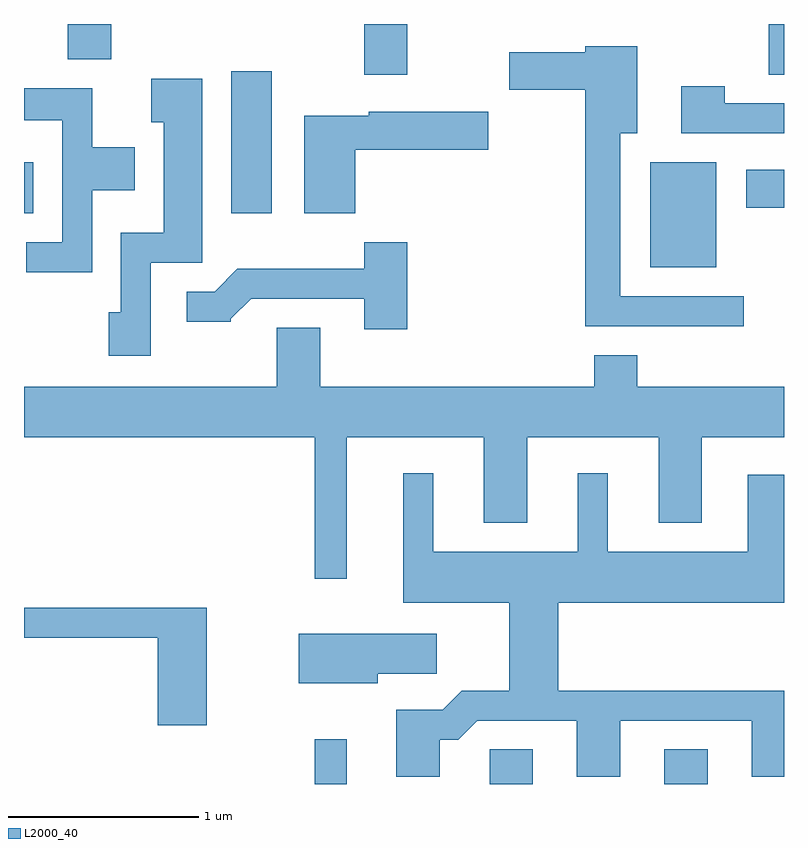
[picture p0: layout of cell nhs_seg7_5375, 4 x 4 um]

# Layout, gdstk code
import gdstk
lib = gdstk.Library(unit=1e-6, precision=1e-09)
def R(c, l, rs):  # rectangles x0, y0, x1, y1
    for r in rs: c.add(gdstk.rectangle(r[:2], r[2:], *l))
def P(c, l, *ps):  # polygons
    for p in ps: c.add(gdstk.Polygon(p, *l))
L2000_40 = (2000, 40)

nhs_seg7_5375 = lib.new_cell('nhs_seg7_5375')
R(nhs_seg7_5375, L2000_40, [(351.141,1730.252,351.309,1730.488), (352.061,1730.252,352.289,1730.434), (352.981,1730.252,353.209,1730.434), (352.906,1732.971,353.254,1733.524), (349.611,1733.256,349.659,1733.524), (350.701,1733.256,350.914,1734.004), (353.411,1733.286,353.611,1733.484), (351.401,1733.986,351.629,1734.252), (353.531,1733.986,353.611,1734.252), (349.841,1734.066,350.069,1734.252)])
P(nhs_seg7_5375, L2000_40, [(353.398,1732.819),(352.749,1732.819),(352.749,1733.676),(352.839,1733.676),(352.839,1734.134),(352.566,1734.134),(352.566,1734.104),(352.166,1734.104),(352.166,1733.906),(352.566,1733.906),(352.566,1732.661),(353.398,1732.661)],
  [(350.279,1732.996),(350.549,1732.996),(350.549,1733.964),(350.281,1733.964),(350.281,1733.736),(350.346,1733.736),(350.346,1733.154),(350.121,1733.154),(350.121,1732.734),(350.056,1732.734),(350.056,1732.506),(350.279,1732.506)],
  [(353.611,1733.834),(353.299,1733.834),(353.299,1733.924),(353.071,1733.924),(353.071,1733.676),(353.611,1733.676)],
  [(349.969,1733.376),(350.194,1733.376),(350.194,1733.604),(349.969,1733.604),(349.969,1733.914),(349.611,1733.914),(349.611,1733.746),(349.811,1733.746),(349.811,1733.104),(349.623,1733.104),(349.623,1732.946),(349.969,1732.946)],
  [(351.354,1733.591),(352.054,1733.591),(352.054,1733.789),(351.426,1733.789),(351.426,1733.769),(351.086,1733.769),(351.086,1733.256),(351.354,1733.256)],
  [(351.629,1733.104),(351.401,1733.104),(351.401,1732.964),(350.734,1732.964),(350.614,1732.844),(350.468,1732.844),(350.468,1732.686),(350.7,1732.686),(350.7,1732.7),(350.807,1732.806),(351.401,1732.806),(351.401,1732.646),(351.629,1732.646)],
  [(351.309,1732.076),(352.031,1732.076),(352.031,1731.626),(352.259,1731.626),(352.259,1732.076),(352.951,1732.076),(352.951,1731.626),(353.179,1731.626),(353.179,1732.076),(353.611,1732.076),(353.611,1732.344),(352.839,1732.344),(352.839,1732.509),(352.611,1732.509),(352.611,1732.344),(351.169,1732.344),(351.169,1732.654),(350.941,1732.654),(350.941,1732.344),(349.611,1732.344),(349.611,1732.076),(351.141,1732.076),(351.141,1731.333),(351.309,1731.333)],
  [(351.799,1730.486),(351.897,1730.486),(351.997,1730.586),(352.521,1730.586),(352.521,1730.291),(352.749,1730.291),(352.749,1730.586),(353.441,1730.586),(353.441,1730.291),(353.611,1730.291),(353.611,1730.744),(352.424,1730.744),(352.424,1731.206),(353.611,1731.206),(353.611,1731.879),(353.421,1731.879),(353.421,1731.474),(352.684,1731.474),(352.684,1731.888),(352.526,1731.888),(352.526,1731.474),(351.764,1731.474),(351.764,1731.888),(351.606,1731.888),(351.606,1731.206),(352.166,1731.206),(352.166,1730.744),(351.914,1730.744),(351.814,1730.644),(351.571,1730.644),(351.571,1730.291),(351.799,1730.291)],
  [(350.574,1731.179),(349.611,1731.179),(349.611,1731.021),(350.316,1731.021),(350.316,1730.561),(350.574,1730.561)],
  [(351.474,1730.831),(351.784,1730.831),(351.784,1731.044),(351.056,1731.044),(351.056,1730.781),(351.474,1730.781)])

lib.write_gds('nhs_seg7_5375.gds')
